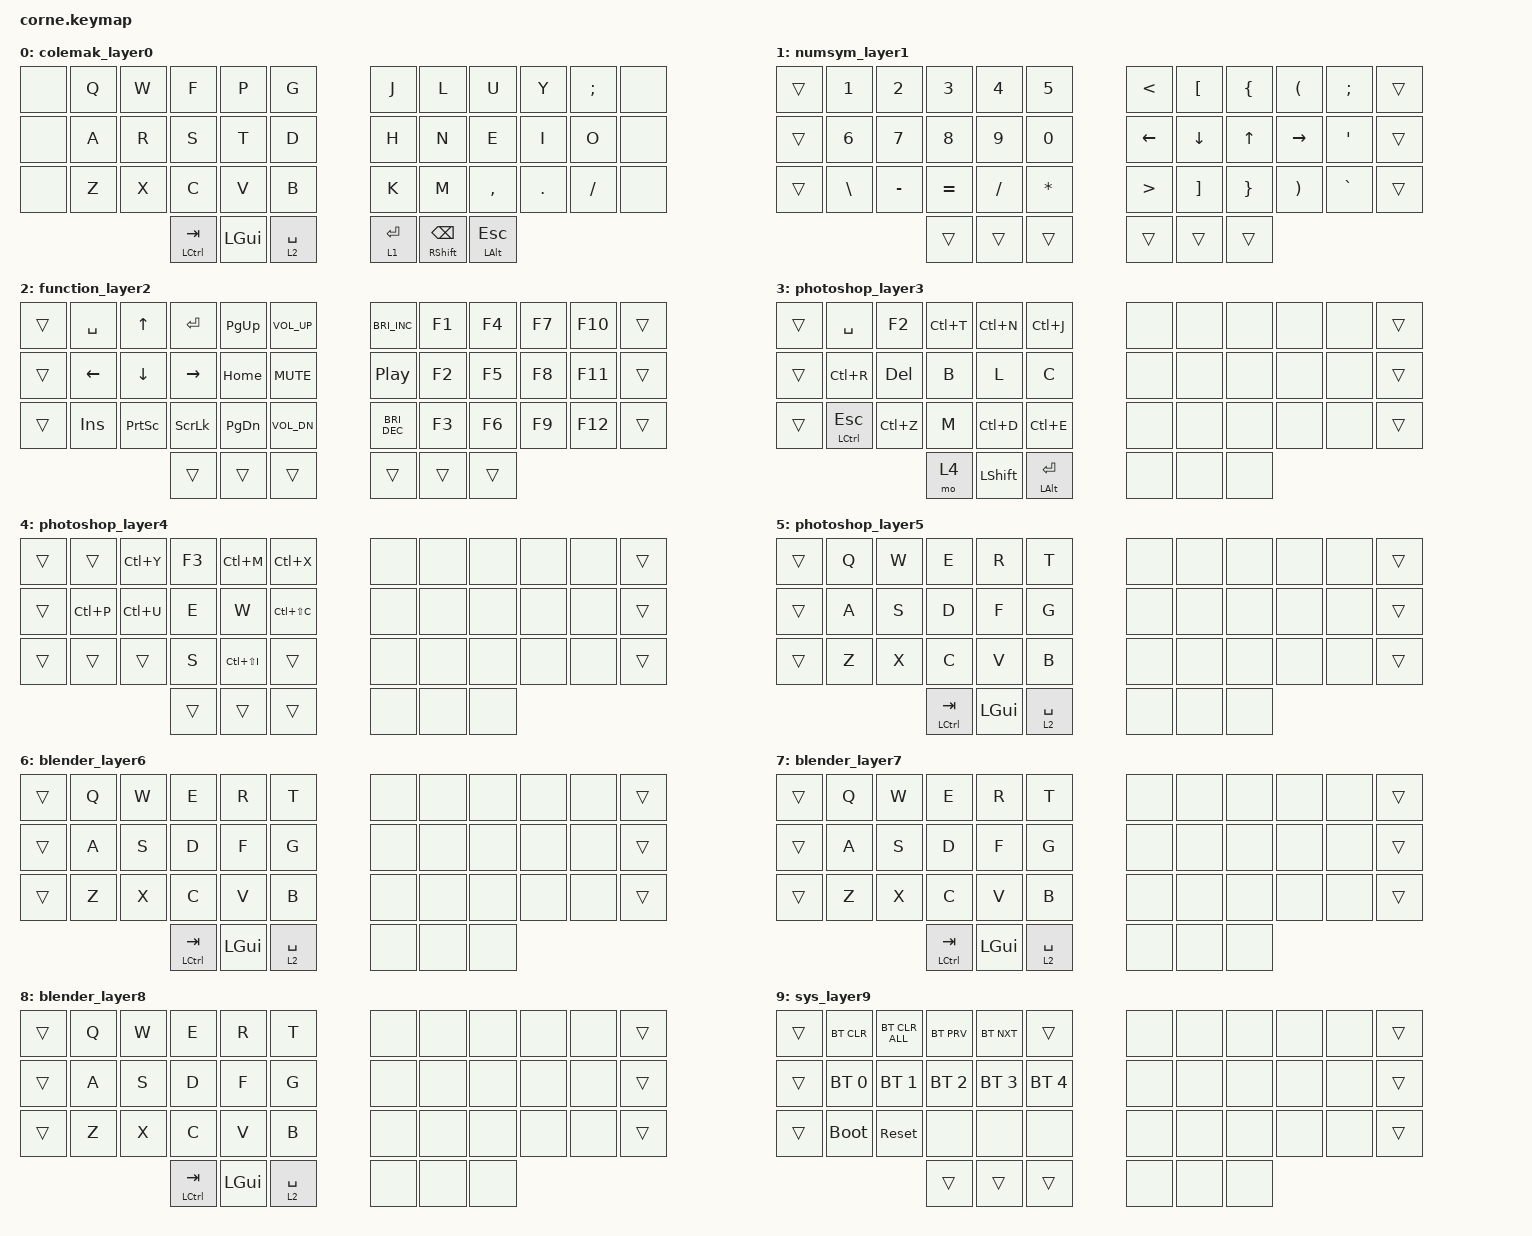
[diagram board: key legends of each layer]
/*
 * Copyright (c) 2020 The ZMK Contributors
 *
 * SPDX-License-Identifier: MIT
 */

#include <behaviors.dtsi>
#include <dt-bindings/zmk/bt.h>
#include <dt-bindings/zmk/keys.h>

/*
#define DEFAULT 0
#define LOWER   1
#define RAISE   2
*/

&mt {
    tapping-term-ms = <400>;
    quick-tap-ms = <175>;
    require-prior-idle-ms = <150>;
    flavor = "balanced";
};

&lt { tapping-term-ms = <400>; };

/ {
    combos {
        compatible = "zmk,combos";

        combo_esc {
            timeout-ms = <50>;
            key-positions = <1 2 3>;
            bindings = <&kp ESCAPE>;
        };

        combo_bksp {
            timeout-ms = <50>;
            key-positions = <10 9 8>;
            bindings = <&kp BACKSPACE>;
        };

        combo_tab {
            bindings = <&kp TAB>;
            key-positions = <13 14 15>;
        };

        combo_shift {
            bindings = <&kp LEFT_SHIFT>;
            key-positions = <25 26 27>;
        };

        combo_delete {
            bindings = <&kp DELETE>;
            key-positions = <21 22 20>;
        };

        combo_rshift {
            bindings = <&kp RIGHT_SHIFT>;
            key-positions = <33 34 32>;
        };
/*
        exclm {
            bindings = <&kp EXCLAMATION>;
            key-positions = <1 13>;
        };

        at {
            bindings = <&kp AT_SIGN>;
            key-positions = <2 14>;
        };

        hash {
            bindings = <&kp HASH>;
            key-positions = <3 15>;
        };

        dllr {
            bindings = <&kp DOLLAR>;
            key-positions = <4 16>;
        };

        percnt {
            bindings = <&kp PERCENT>;
            key-positions = <5 17>;
        };

        caret {
            bindings = <&kp CARET>;
            key-positions = <6 18>;
        };

        and {
            bindings = <&kp AMPERSAND>;
            key-positions = <7 19>;
        };2

        str {
            bindings = <&kp ASTERISK>;
            key-positions = <8 20>;
        };

        leftparen {
            bindings = <&kp LPAR>;
            key-positions = <9 21>;
        };

        rparen {
            bindings = <&kp RPAR>;
            key-positions = <10 22>;
        };
*/
          colemak_switch {
            bindings = <&tog 0>;
            key-positions = <38 39>;
        };

        photoshop_switch {
            bindings = <&tog 3>;
            key-positions = <36 41>;
        };

        blender_switch {
            bindings = <&tog 6>;
            key-positions = <37 40>;
        };

        sys_switch {
            bindings = <&tog 9>;
            key-positions = <37 38 39 40 41 42>;
        };
};

    conditional_layers { compatible = "zmk,conditional-layers"; };

    keymap {
        compatible = "zmk,keymap";

        colemak_layer0 {
            bindings = <
&none  &kp Q  &kp W  &kp F          &kp P     &kp G          &kp J        &kp L                      &kp U             &kp Y    &kp SEMICOLON  &none
&none  &kp A  &kp R  &kp S          &kp T     &kp D          &kp H        &kp N                      &kp E             &kp I    &kp O          &none
&none  &kp Z  &kp X  &kp C          &kp V     &kp B          &kp K        &kp M                      &kp COMMA         &kp DOT  &kp FSLH       &none
                     &mt LCTRL TAB  &kp LGUI  &lt 2 SPACE    &lt 1 ENTER  &mt RIGHT_SHIFT BACKSPACE  &mt LEFT_ALT ESC
            >;
        };

        numsym_layer1 {
            bindings = <
&trans  &kp N1         &kp N2     &kp N3     &kp N4     &kp N5          &kp LESS_THAN     &kp LEFT_BRACKET   &kp LEFT_BRACE   &kp LEFT_PARENTHESIS   &kp SEMICOLON  &trans
&trans  &kp NUMBER_6   &kp N7     &kp N8     &kp N9     &kp NUMBER_0    &kp LEFT          &kp DOWN           &kp UP           &kp RIGHT              &kp SQT        &trans
&trans  &kp BACKSLASH  &kp MINUS  &kp EQUAL  &kp SLASH  &kp ASTERISK    &kp GREATER_THAN  &kp RIGHT_BRACKET  &kp RIGHT_BRACE  &kp RIGHT_PARENTHESIS  &kp GRAVE      &trans
                                  &trans     &trans     &trans          &trans            &trans             &trans
            >;
        };

        function_layer2 {
            bindings = <
&trans  &kp SPACE  &kp UP_ARROW     &kp ENTER       &kp PAGE_UP    &kp C_VOL_UP    &kp C_BRIGHTNESS_INC  &kp F1  &kp F4  &kp F7  &kp F10  &trans
&trans  &kp LEFT   &kp DOWN         &kp RIGHT       &kp HOME       &kp C_MUTE      &kp C_PLAY_PAUSE      &kp F2  &kp F5  &kp F8  &kp F11  &trans
&trans  &kp INS    &kp PRINTSCREEN  &kp SCROLLLOCK  &kp PAGE_DOWN  &kp C_VOL_DN    &kp C_BRIGHTNESS_DEC  &kp F3  &kp F6  &kp F9  &kp F12  &trans
                                    &trans          &trans         &trans          &trans                &trans  &trans
            >;
        };

        photoshop_layer3 {
            bindings = <
&trans  &kp SPACE      &kp F2      &kp LC(T)   &kp LC(N)       &kp LC(J)           &none  &none  &none  &none  &none  &trans
&trans  &kp LC(R)      &kp DEL     &kp B       &kp L           &kp C               &none  &none  &none  &none  &none  &trans
&trans  &mt LCTRL ESC  &kp LC(Z)   &kp M       &kp LC(D)       &kp LC(E)           &none  &none  &none  &none  &none  &trans
                                   &mo 4       &kp LEFT_SHIFT  &mt LEFT_ALT ENTER  &none  &none  &none
            >;
        };

        photoshop_layer4 {
            bindings = <
&trans  &trans     &kp LC(Y) &kp F3  &kp LC(M)     &kp LC(X)       &none  &none  &none  &none  &none  &trans
&trans  &kp LC(P)  &kp LC(U) &kp E   &kp W         &kp LC(LS(C))   &none  &none  &none  &none  &none  &trans
&trans  &trans     &trans    &kp S   &kp LC(LS(I)) &trans          &none  &none  &none  &none  &none  &trans
                             &trans  &trans        &trans          &none  &none  &none
            >;
        };

        photoshop_layer5 {
            bindings = <
&trans  &kp Q  &kp W  &kp E          &kp R         &kp T          &none  &none  &none  &none  &none  &trans
&trans  &kp A  &kp S  &kp D          &kp F         &kp G          &none  &none  &none  &none  &none  &trans
&trans  &kp Z  &kp X  &kp C          &kp V         &kp B          &none  &none  &none  &none  &none  &trans
                      &mt LCTRL TAB  &kp LEFT_GUI  &lt 2 SPACE    &none  &none  &none
            >;
        };

        blender_layer6 {
            bindings = <
&trans  &kp Q  &kp W  &kp E          &kp R         &kp T          &none  &none  &none  &none  &none  &trans
&trans  &kp A  &kp S  &kp D          &kp F         &kp G          &none  &none  &none  &none  &none  &trans
&trans  &kp Z  &kp X  &kp C          &kp V         &kp B          &none  &none  &none  &none  &none  &trans
                      &mt LCTRL TAB  &kp LEFT_GUI  &lt 2 SPACE    &none  &none  &none
            >;
        };

        blender_layer7 {
            bindings = <
&trans  &kp Q  &kp W  &kp E          &kp R         &kp T          &none  &none  &none  &none  &none  &trans
&trans  &kp A  &kp S  &kp D          &kp F         &kp G          &none  &none  &none  &none  &none  &trans
&trans  &kp Z  &kp X  &kp C          &kp V         &kp B          &none  &none  &none  &none  &none  &trans
                      &mt LCTRL TAB  &kp LEFT_GUI  &lt 2 SPACE    &none  &none  &none
            >;
        };

        blender_layer8 {
            bindings = <
&trans  &kp Q  &kp W  &kp E          &kp R         &kp T          &none  &none  &none  &none  &none  &trans
&trans  &kp A  &kp S  &kp D          &kp F         &kp G          &none  &none  &none  &none  &none  &trans
&trans  &kp Z  &kp X  &kp C          &kp V         &kp B          &none  &none  &none  &none  &none  &trans
                      &mt LCTRL TAB  &kp LEFT_GUI  &lt 2 SPACE    &none  &none  &none
            >;
        };

        sys_layer9 {
            bindings = <
&trans  &bt BT_CLR    &bt BT_CLR_ALL  &bt BT_PRV    &bt BT_NXT    &trans          &none  &none  &none  &none  &none  &trans
&trans  &bt BT_SEL 0  &bt BT_SEL 1    &bt BT_SEL 2  &bt BT_SEL 3  &bt BT_SEL 4    &none  &none  &none  &none  &none  &trans
&trans  &bootloader   &sys_reset      &none         &none         &none           &none  &none  &none  &none  &none  &trans
                                      &trans        &trans        &trans          &none  &none  &none
           >;
        };
    };
};
